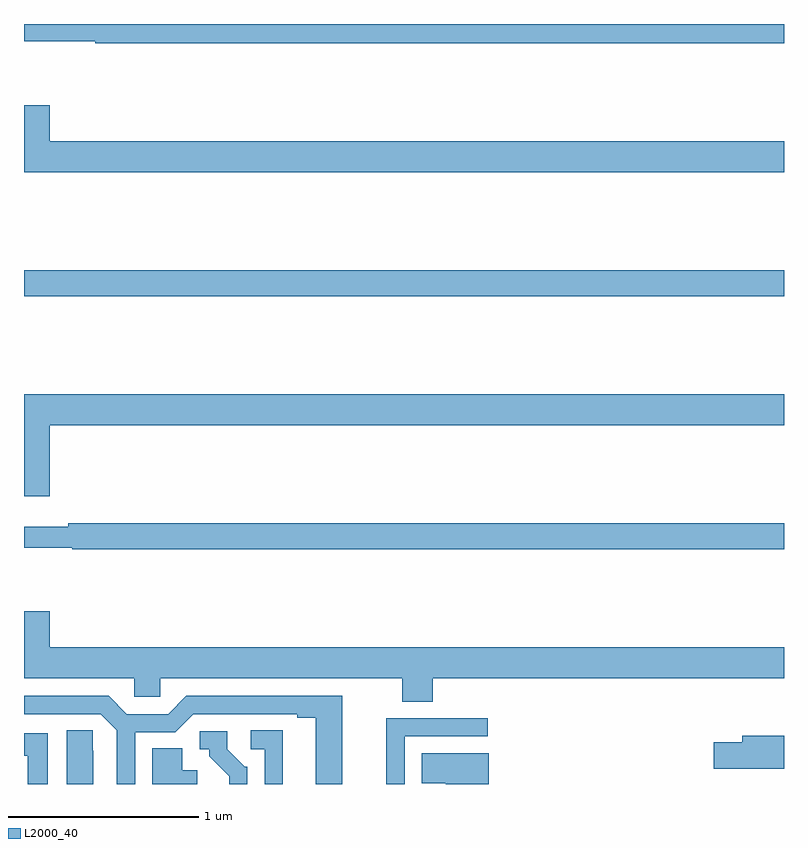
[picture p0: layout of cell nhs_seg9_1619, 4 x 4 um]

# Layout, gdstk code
import gdstk
lib = gdstk.Library(unit=1e-6, precision=1e-09)
def R(c, l, rs):  # rectangles x0, y0, x1, y1
    for r in rs: c.add(gdstk.rectangle(r[:2], r[2:], *l))
def P(c, l, *ps):  # polygons
    for p in ps: c.add(gdstk.Polygon(p, *l))
L2000_40 = (2000, 40)

nhs_seg9_1619 = lib.new_cell('nhs_seg9_1619')
R(nhs_seg9_1619, L2000_40, [(201,1229.068,205,1229.204)])
P(nhs_seg9_1619, L2000_40, [(205,1230.5),(201,1230.5),(201,1230.408),(201.374,1230.408),(201.374,1230.4),(205,1230.4)],
  [(205,1229.884),(201.136,1229.884),(201.136,1230.073),(201,1230.073),(201,1229.72),(205,1229.72)],
  [(201.136,1228.388),(205,1228.388),(205,1228.552),(201,1228.552),(201,1228.014),(201.136,1228.014)],
  [(205,1227.872),(201.232,1227.872),(201.232,1227.853),(201,1227.853),(201,1227.744),(201.255,1227.744),(201.255,1227.736),(205,1227.736)],
  [(203.15,1227.056),(205,1227.056),(205,1227.22),(201.136,1227.22),(201.136,1227.409),(201,1227.409),(201,1227.056),(201.579,1227.056),(201.579,1226.958),(201.717,1226.958),(201.717,1227.056),(202.99,1227.056),(202.99,1226.932),(203.15,1226.932)],
  [(201.585,1226.772),(201.795,1226.772),(201.891,1226.868),(202.439,1226.868),(202.439,1226.848),(202.535,1226.848),(202.535,1226.5),(202.675,1226.5),(202.675,1226.964),(201.855,1226.964),(201.759,1226.868),(201.541,1226.868),(201.445,1226.964),(201,1226.964),(201,1226.868),(201.405,1226.868),(201.489,1226.784),(201.489,1226.5),(201.585,1226.5)],
  [(203.004,1226.751),(203.44,1226.751),(203.44,1226.847),(202.906,1226.847),(202.906,1226.5),(203.004,1226.5)],
  [(201.364,1226.675),(201.363,1226.675),(201.363,1226.783),(201.224,1226.783),(201.224,1226.5),(201.364,1226.5)],
  [(202.363,1226.783),(202.194,1226.783),(202.194,1226.682),(202.266,1226.682),(202.266,1226.5),(202.363,1226.5)],
  [(202.176,1226.592),(202.161,1226.592),(202.071,1226.682),(202.071,1226.778),(201.924,1226.778),(201.924,1226.682),(201.974,1226.682),(201.974,1226.647),(202.079,1226.542),(202.079,1226.5),(202.176,1226.5)],
  [(201.124,1226.766),(201,1226.766),(201,1226.65),(201.02,1226.65),(201.02,1226.5),(201.124,1226.5)],
  [(205,1226.755),(204.779,1226.755),(204.779,1226.721),(204.63,1226.721),(204.63,1226.579),(205,1226.579)],
  [(201.913,1226.572),(201.832,1226.572),(201.832,1226.687),(201.674,1226.687),(201.674,1226.5),(201.913,1226.5)],
  [(203.446,1226.662),(203.094,1226.662),(203.094,1226.504),(203.219,1226.504),(203.219,1226.5),(203.446,1226.5)])

lib.write_gds('nhs_seg9_1619.gds')
